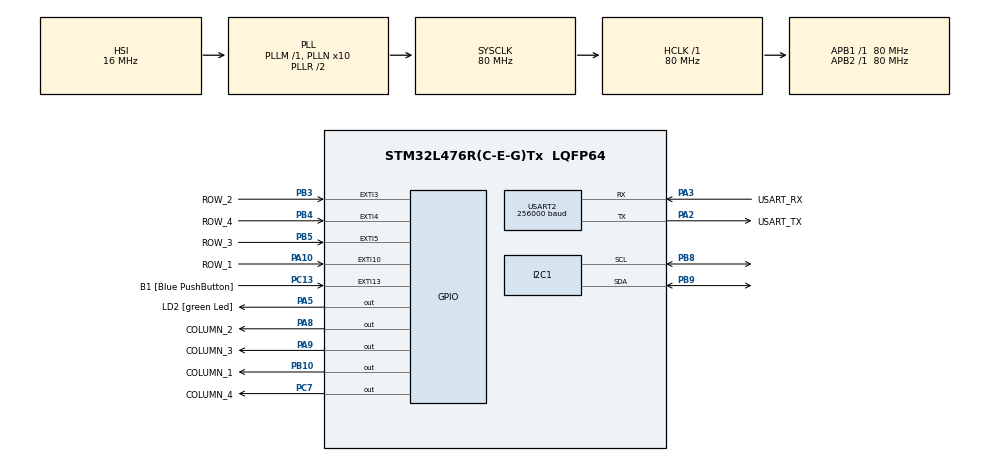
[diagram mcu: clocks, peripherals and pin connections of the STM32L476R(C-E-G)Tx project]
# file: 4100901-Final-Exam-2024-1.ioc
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I2C1.Timing=0x10909CEC
Mcu.Family=STM32L4
Mcu.Name=STM32L476R(C-E-G)Tx
Mcu.Package=LQFP64
NVIC.EXTI15_10_IRQn=true\:0\:0\:false\:false\:true\:true\:true\:true
NVIC.EXTI3_IRQn=true\:0\:0\:false\:false\:true\:true\:true\:true
NVIC.EXTI4_IRQn=true\:0\:0\:false\:false\:true\:true\:true\:true
NVIC.EXTI9_5_IRQn=true\:0\:0\:false\:false\:true\:true\:true\:true
NVIC.I2C1_ER_IRQn=true\:0\:0\:false\:false\:true\:true\:true\:true
NVIC.I2C1_EV_IRQn=true\:0\:0\:false\:false\:true\:true\:true\:true
NVIC.PriorityGroup=NVIC_PRIORITYGROUP_4
NVIC.USART2_IRQn=true\:0\:0\:false\:false\:true\:true\:true\:true
PA10.GPIO_Label=ROW_1
PA10.GPIO_ModeDefaultEXTI=GPIO_MODE_IT_RISING
PA10.GPIO_PuPd=GPIO_PULLDOWN
PA10.Signal=GPXTI10
PA13\ (JTMS-SWDIO).GPIO_Label=TMS
PA13\ (JTMS-SWDIO).Mode=Serial_Wire
PA13\ (JTMS-SWDIO).Signal=SYS_JTMS-SWDIO
PA14\ (JTCK-SWCLK).GPIO_Label=TCK
PA14\ (JTCK-SWCLK).Mode=Serial_Wire
PA14\ (JTCK-SWCLK).Signal=SYS_JTCK-SWCLK
PA2.GPIO_Label=USART_TX
PA2.GPIO_Mode=GPIO_MODE_AF_PP
PA2.GPIO_PuPd=GPIO_NOPULL
PA2.GPIO_Speed=GPIO_SPEED_FREQ_VERY_HIGH
PA2.Mode=Asynchronous
PA2.Signal=USART2_TX
PA3.GPIO_Label=USART_RX
PA3.GPIO_Mode=GPIO_MODE_AF_PP
PA3.GPIO_PuPd=GPIO_NOPULL
PA3.GPIO_Speed=GPIO_SPEED_FREQ_VERY_HIGH
PA3.Mode=Asynchronous
PA3.Signal=USART2_RX
PA5.GPIO_Label=LD2 [green Led]
PA5.GPIO_ModeDefaultOutputPP=GPIO_MODE_OUTPUT_PP
PA5.GPIO_PuPd=GPIO_NOPULL
PA5.GPIO_Speed=GPIO_SPEED_FREQ_LOW
PA5.Signal=GPIO_Output
PA8.GPIO_Label=COLUMN_2
PA8.GPIO_Speed=GPIO_SPEED_FREQ_VERY_HIGH
PA8.PinState=GPIO_PIN_SET
PA8.Signal=GPIO_Output
PA9.GPIO_Label=COLUMN_3
PA9.GPIO_Speed=GPIO_SPEED_FREQ_VERY_HIGH
PA9.PinState=GPIO_PIN_SET
PA9.Signal=GPIO_Output
PB10.GPIO_Label=COLUMN_1
PB10.GPIO_Speed=GPIO_SPEED_FREQ_VERY_HIGH
PB10.PinState=GPIO_PIN_SET
PB10.Signal=GPIO_Output
PB3\ (JTDO-TRACESWO).GPIO_Label=ROW_2
PB3\ (JTDO-TRACESWO).GPIO_ModeDefaultEXTI=GPIO_MODE_IT_RISING
PB3\ (JTDO-TRACESWO).GPIO_PuPd=GPIO_PULLDOWN
PB3\ (JTDO-TRACESWO).Signal=GPXTI3
PB4\ (NJTRST).GPIO_Label=ROW_4
PB4\ (NJTRST).GPIO_ModeDefaultEXTI=GPIO_MODE_IT_RISING
PB4\ (NJTRST).GPIO_PuPd=GPIO_PULLDOWN
PB4\ (NJTRST).Signal=GPXTI4
PB5.GPIO_Label=ROW_3
PB5.GPIO_ModeDefaultEXTI=GPIO_MODE_IT_RISING
PB5.GPIO_PuPd=GPIO_PULLDOWN
PB5.Signal=GPXTI5
PB8.Mode=I2C
PB8.Signal=I2C1_SCL
PB9.Mode=I2C
PB9.Signal=I2C1_SDA
PC13.GPIO_Label=B1 [Blue PushButton]
PC13.GPIO_ModeDefaultEXTI=GPIO_MODE_IT_FALLING
PC13.GPIO_PuPd=GPIO_NOPULL
PC13.Signal=GPXTI13
PC14-OSC32_IN\ (PC14).Signal=RCC_OSC32_IN
PC15-OSC32_OUT\ (PC15).Signal=RCC_OSC32_OUT
PC7.GPIO_Label=COLUMN_4
PC7.GPIO_Speed=GPIO_SPEED_FREQ_VERY_HIGH
PC7.PinState=GPIO_PIN_SET
PC7.Signal=GPIO_Output
PH0-OSC_IN\ (PH0).Mode=HSE-External-Oscillator
PH0-OSC_IN\ (PH0).Signal=RCC_OSC_IN
PH1-OSC_OUT\ (PH1).Mode=HSE-External-Oscillator
PH1-OSC_OUT\ (PH1).Signal=RCC_OSC_OUT
ProjectManager.HeapSize=0x200
ProjectManager.StackSize=0x400
ProjectManager.TargetToolchain=STM32CubeIDE
RCC.ADCFreq_Value=64000000
RCC.AHBFreq_Value=80000000
RCC.APB1Freq_Value=80000000
RCC.APB1TimFreq_Value=80000000
RCC.APB2Freq_Value=80000000
RCC.APB2TimFreq_Value=80000000
RCC.CortexFreq_Value=80000000
RCC.HCLKFreq_Value=80000000
RCC.HSE_VALUE=8000000
RCC.HSI_VALUE=16000000
RCC.MSI_VALUE=4000000
RCC.PLLN=10
RCC.PLLSourceVirtual=RCC_PLLSOURCE_HSI
RCC.PREFETCH_ENABLE=1
RCC.SYSCLKFreq_VALUE=80000000
RCC.SYSCLKSource=RCC_SYSCLKSOURCE_PLLCLK
RCC.USBFreq_Value=64000000
RCC.VCOOutputFreq_Value=160000000
USART2.BaudRate=256000
USART2.VirtualMode-Asynchronous=VM_ASYNC
board=NUCLEO-L476RG

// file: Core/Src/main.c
/* USER CODE BEGIN Header */
/**
  ******************************************************************************
  * @file           : main.c
  * @brief          : Main program body
  ******************************************************************************
  * @attention
  *
  * Copyright (c) 2024 STMicroelectronics.
  * All rights reserved.
  *
  * This software is licensed under terms that can be found in the LICENSE file
  * in the root directory of this software component.
  * If no LICENSE file comes with this software, it is provided AS-IS.
  *
  ******************************************************************************
  */
/* USER CODE END Header */
#include "main.h"

/* USER CODE BEGIN Includes */
#include <stdio.h>

#include "ssd1306.h"
#include "ssd1306_fonts.h"

#include "ring_buffer.h"
#include "keypad.h"
/* USER CODE END Includes */

I2C_HandleTypeDef hi2c1;

UART_HandleTypeDef huart2;

/* USER CODE BEGIN PV */

#define KEYPAD_RB_LEN 4
#define USART2_RB_LEN 6

uint8_t keypad_data = 0xFF;
uint8_t usart2_data = 0xFF;

uint8_t keypad_buffer[KEYPAD_RB_LEN];
ring_buffer_t keypad_rb;

uint8_t usart2_buffer[USART2_RB_LEN];
ring_buffer_t usart2_rb;

uint16_t keypad_input_value = 0;
uint32_t usart_input_value = 0;
uint32_t sum_result = 0;

/* USER CODE END PV */

void SystemClock_Config(void);
static void MX_GPIO_Init(void);
static void MX_USART2_UART_Init(void);
static void MX_I2C1_Init(void);

void process_sum(void);
void reset_values(void);

/* USER CODE BEGIN 0 */

/*
 * Function to redirect printf output to UART.
 *
 * Purpose:
 * This function overrides the standard `_write` function to allow the
 * usage of `printf` in embedded systems without a standard output. It
 * redirects the printf output to UART for debugging or serial communication.
 *
 * Parameters:
 * - file: Not used, required by the function signature.
 * - ptr: Pointer to the data to be transmitted.
 * - len: Length of the data to be transmitted.
 *
 * Functionality:
 * - It sends the data pointed to by `ptr` via UART using HAL_UART_Transmit.
 * - It returns the length of the data transmitted.
 *
 * Use case:
 * By using this function, any call to `printf` will output the message
 * to the UART interface, which can be monitored with a serial console.
 */
int _write(int file, char *ptr, int len)
{
  HAL_UART_Transmit(&huart2, (uint8_t *)ptr, len, 10);
  return len;
}
/*
 * Función para reiniciar los valores ingresados
 *
 * Propósito:
 * Esta función reinicia los valores ingresados tanto por el teclado
 * como por USART, limpiando los valores almacenados en las variables
 * `keypad_input_value` y `usart_input_value`.
 *
 * Funcionalidad:
 * - Restablece a 0 los valores de las entradas del keypad y USART.
 * - Limpia la pantalla OLED y muestra un mensaje indicando que los valores han sido reiniciados.
 * - Envía un mensaje a través de UART informando que los valores han sido reiniciados.
 *
 * Uso:
 * Se utiliza para restablecer el sistema cuando se presiona la tecla '*' en el teclado.
 */
void reset_values(void)
{
    keypad_input_value = 0;
    usart_input_value = 0;

    // Limpiar la pantalla OLED y mostrar un mensaje
    ssd1306_Fill(Black);
    ssd1306_SetCursor(10, 20);
    ssd1306_WriteString("Valores reiniciados", Font_6x8, White);
    ssd1306_UpdateScreen();

    // Mostrar mensaje en la UART
    printf("Valores reiniciados\r\n");
}

/*
 * Función para procesar la suma de los valores ingresados
 *
 * Propósito:
 * Esta función toma los valores ingresados a través del keypad y USART,
 * los suma y muestra el resultado tanto en la pantalla OLED como a través
 * de UART. Además, enciende o apaga un LED dependiendo de si el resultado es par o impar.
 *
 * Funcionalidad:
 * - Suma los valores almacenados en `keypad_input_value` y `usart_input_value`.
 * - Muestra el resultado de la suma en la pantalla OLED y lo envía por UART.
 * - Verifica si el resultado es par o impar:
 *   - Si es par, enciende el LED.
 *   - Si es impar, apaga el LED.
 *
 * Uso:
 * Se activa cuando se presiona el botón B1 en el sistema.
 */
void process_sum(void)
{
    sum_result = keypad_input_value + usart_input_value;

    // Mostrar el resultado en la pantalla OLED y en la UART
    ssd1306_Fill(Black);
    ssd1306_SetCursor(10, 20);
    char result_str[20];
    sprintf(result_str, "Suma: %lu", sum_result);
    ssd1306_WriteString(result_str, Font_6x8, White);

    // Imprimir si es par o impar en el OLED
    ssd1306_SetCursor(10, 40);
    if (sum_result % 2 == 0) {
        ssd1306_WriteString("Resultado: Par", Font_6x8, White);
        HAL_GPIO_WritePin(LD2_GPIO_Port, LD2_Pin, GPIO_PIN_SET);  // Encender LED si es par
    } else {
        ssd1306_WriteString("Resultado: Impar", Font_6x8, White);
        HAL_GPIO_WritePin(LD2_GPIO_Port, LD2_Pin, GPIO_PIN_RESET);  // Apagar LED si es impar
    }

    ssd1306_UpdateScreen();
    printf("Resultado de la suma: %lu\r\n", sum_result);
}

/*
 * Callback de recepción de datos por USART2
 *
 * Propósito:
 * Esta función se ejecuta cada vez que se recibe un dato a través de la UART2.
 * Almacena los dígitos recibidos en un buffer circular y procesa el valor cuando
 * se ha recibido un número completo de hasta 6 dígitos.
 *
 * Funcionalidad:
 * - Almacena los dígitos recibidos (si son numéricos) en el buffer circular.
 * - Cuando se han recibido 6 dígitos, los convierte a un valor numérico.
 * - Imprime el valor recibido en la terminal UART y lo muestra en la pantalla OLED.
 *
 * Uso:
 * Esta función se llama automáticamente cuando se recibe un nuevo dato en la UART
 * y está configurada para trabajar con interrupciones.
 */
/* USART2 Callback ------------------------------------------------------------*/
void HAL_UART_RxCpltCallback(UART_HandleTypeDef *huart)
{
    if (huart->Instance == USART2) {
        // Si recibe un dígito, almacena en el buffer
        if (usart2_data >= '0' && usart2_data <= '9') {
            ring_buffer_write(&usart2_rb, usart2_data);
        }

        // Verifica si el buffer está lleno (6 dígitos)
        if (ring_buffer_size(&usart2_rb) >= 6) {
            char usart_str[7];
            for (int i = 0; i < 6; i++) {
                ring_buffer_read(&usart2_rb, (uint8_t *)&usart_str[i]);
            }
            usart_str[6] = '\0';
            usart_input_value = strtol(usart_str, NULL, 10);
            printf("USART Input: %lu\r\n", usart_input_value);

            // Imprimir valor recibido por USART en OLED
            ssd1306_Fill(Black);
            ssd1306_SetCursor(10, 30);  // Ajustar posición en la pantalla
            char usart_oled_str[20];
            sprintf(usart_oled_str, "USART: %lu", usart_input_value);
            ssd1306_WriteString(usart_oled_str, Font_6x8, White);
            ssd1306_UpdateScreen();
        }

        HAL_UART_Receive_IT(&huart2, &usart2_data, 1);
    }
}

/*
/*
 * Callback de manejo de interrupciones externas (Keypad y Botón B1)
 *
 * Propósito:
 * Esta función se ejecuta cuando se detecta una interrupción en los pines configurados
 * para el keypad o el botón B1. Procesa los dígitos ingresados por el keypad y realiza
 * la suma de valores cuando se presiona el botón B1.
 *
 * Funcionalidad:
 * - Si el botón B1 es presionado, se realiza la suma de los valores ingresados.
 * - Si se presiona el '*' en el keypad, se reinician los valores ingresados.
 * - Si se ingresan 4 dígitos en el keypad, estos se convierten en un valor numérico y
 *   se muestran tanto en la pantalla OLED como en la terminal UART.
 *
 * Uso:
 * Esta función se llama automáticamente cuando se detecta una interrupción en el pin
 * asociado al keypad o al botón B1.
 */
/* Keypad and button Callback ------------------------------------------------------------*/
void HAL_GPIO_EXTI_Callback(uint16_t GPIO_Pin)
{
    if (GPIO_Pin == B1_Pin) {
        // Procesar suma cuando se presiona el botón B1
        process_sum();
        return;
    }

    // Manejo del keypad
    uint8_t key_pressed = keypad_scan(GPIO_Pin);
    if (key_pressed != 0xFF) {
        if (key_pressed == '*') {
            // Reiniciar valores si se presiona '*'
            reset_values();
        } else {
            ring_buffer_write(&keypad_rb, key_pressed);

            // Verifica si el buffer del keypad está lleno (4 dígitos)
            if (ring_buffer_size(&keypad_rb) >= 4) {
                char keypad_str[5];
                for (int i = 0; i < 4; i++) {
                    ring_buffer_read(&keypad_rb, (uint8_t *)&keypad_str[i]);
                }
                keypad_str[4] = '\0';
                keypad_input_value = strtol(keypad_str, NULL, 16);
                printf("Keypad Input: %u\r\n", keypad_input_value);

                // Imprimir valor ingresado por keypad en OLED
                ssd1306_Fill(Black);
                ssd1306_SetCursor(10, 40);  // Ajustar posición en la pantalla
                char keypad_oled_str[20];
                sprintf(keypad_oled_str, "Keypad: %u", keypad_input_value);
                ssd1306_WriteString(keypad_oled_str, Font_6x8, White);
                ssd1306_UpdateScreen();
            }
        }
    }
}

/* USER CODE END 0 */

int main(void)
{

  /* USER CODE BEGIN 1 */
	huart2.Init.BaudRate = 256000;  // Cambia la velocidad a 256000 baudios
  /* USER CODE END 1 */

  /* MCU Configuration--------------------------------------------------------*/

  /* Reset of all peripherals, Initializes the Flash interface and the Systick. */
  HAL_Init();

  /* Configure the system clock */
  SystemClock_Config();

  /* Initialize all configured peripherals */
  MX_GPIO_Init();
  MX_USART2_UART_Init();
  MX_I2C1_Init();
  /* USER CODE BEGIN 2 */

  // initialize the two circular buffers
  ring_buffer_init(&keypad_rb, keypad_buffer, KEYPAD_RB_LEN);
  ring_buffer_init(&usart2_rb, usart2_buffer, USART2_RB_LEN);
  // intializing oled screen
  ssd1306_Init();
  ssd1306_Fill(Black);
  ssd1306_SetCursor(20, 20);
  ssd1306_WriteString("starting arithmetic software", Font_7x10, White);
  ssd1306_UpdateScreen();

  HAL_UART_Receive_IT(&huart2, &usart2_data, 1);
  /* USER CODE END 2 */

  /* Infinite loop */
  /* USER CODE BEGIN WHILE */
  printf("Starting arithmetic software \r\n");
  while (1)
  {
    /* USER CODE E ND WHILE */

  }
}

void SystemClock_Config(void)
{
  RCC_OscInitTypeDef RCC_OscInitStruct = {0};
  RCC_ClkInitTypeDef RCC_ClkInitStruct = {0};

  /** Configure the main internal regulator output voltage
  */
  if (HAL_PWREx_ControlVoltageScaling(PWR_REGULATOR_VOLTAGE_SCALE1) != HAL_OK)
  {
    Error_Handler();
  }

  /** Initializes the RCC Oscillators according to the specified parameters
  * in the RCC_OscInitTypeDef structure.
  */
  RCC_OscInitStruct.OscillatorType = RCC_OSCILLATORTYPE_HSI;
  RCC_OscInitStruct.HSIState = RCC_HSI_ON;
  RCC_OscInitStruct.HSICalibrationValue = RCC_HSICALIBRATION_DEFAULT;
  RCC_OscInitStruct.PLL.PLLState = RCC_PLL_ON;
  RCC_OscInitStruct.PLL.PLLSource = RCC_PLLSOURCE_HSI;
  RCC_OscInitStruct.PLL.PLLM = 1;
  RCC_OscInitStruct.PLL.PLLN = 10;
  RCC_OscInitStruct.PLL.PLLP = RCC_PLLP_DIV7;
  RCC_OscInitStruct.PLL.PLLQ = RCC_PLLQ_DIV2;
  RCC_OscInitStruct.PLL.PLLR = RCC_PLLR_DIV2;
  if (HAL_RCC_OscConfig(&RCC_OscInitStruct) != HAL_OK)
  {
    Error_Handler();
  }

  /** Initializes the CPU, AHB and APB buses clocks
  */
  RCC_ClkInitStruct.ClockType = RCC_CLOCKTYPE_HCLK|RCC_CLOCKTYPE_SYSCLK
                              |RCC_CLOCKTYPE_PCLK1|RCC_CLOCKTYPE_PCLK2;
  RCC_ClkInitStruct.SYSCLKSource = RCC_SYSCLKSOURCE_PLLCLK;
  RCC_ClkInitStruct.AHBCLKDivider = RCC_SYSCLK_DIV1;
  RCC_ClkInitStruct.APB1CLKDivider = RCC_HCLK_DIV1;
  RCC_ClkInitStruct.APB2CLKDivider = RCC_HCLK_DIV1;

  if (HAL_RCC_ClockConfig(&RCC_ClkInitStruct, FLASH_LATENCY_4) != HAL_OK)
  {
    Error_Handler();
  }
}

static void MX_I2C1_Init(void)
{

  hi2c1.Instance = I2C1;
  hi2c1.Init.Timing = 0x10909CEC;
  hi2c1.Init.OwnAddress1 = 0;
  hi2c1.Init.AddressingMode = I2C_ADDRESSINGMODE_7BIT;
  hi2c1.Init.DualAddressMode = I2C_DUALADDRESS_DISABLE;
  hi2c1.Init.OwnAddress2 = 0;
  hi2c1.Init.OwnAddress2Masks = I2C_OA2_NOMASK;
  hi2c1.Init.GeneralCallMode = I2C_GENERALCALL_DISABLE;
  hi2c1.Init.NoStretchMode = I2C_NOSTRETCH_DISABLE;
  if (HAL_I2C_Init(&hi2c1) != HAL_OK)
  {
    Error_Handler();
  }

  /** Configure Analogue filter
  */
  if (HAL_I2CEx_ConfigAnalogFilter(&hi2c1, I2C_ANALOGFILTER_ENABLE) != HAL_OK)
  {
    Error_Handler();
  }

  /** Configure Digital filter
  */
  if (HAL_I2CEx_ConfigDigitalFilter(&hi2c1, 0) != HAL_OK)
  {
    Error_Handler();
  }
  /* USER CODE BEGIN I2C1_Init 2 */
  /*
   * Function to clear a specific line on the OLED screen.
   *
   * Purpose:
   * This function is used to "delete" the contents of a specific line
   * by writing spaces over it. This is useful when you want to update
   * or remove text from a specific position on the OLED display.
   *
   * Parameters:
   * - y_position: The vertical position (Y coordinate) of the line to clear.
   *
   * Functionality:
   * - The function places the cursor at the start of the line.
   * - It writes a string of spaces to overwrite any existing content on that line.
   * - Finally, it updates the screen to reflect the changes.
   */
  void clear_line(uint8_t y_position) {
      // Place the cursor at the beginning of the line
      ssd1306_SetCursor(10, y_position);
      // Write a line of spaces to "delete" the line
      ssd1306_WriteString("                ", Font_6x8, Black);  // Adjust the number of spaces according to the screen size
      ssd1306_UpdateScreen();
  }
  /* USER CODE END I2C1_Init 2 */

}

static void MX_USART2_UART_Init(void)
{

  huart2.Instance = USART2;
  huart2.Init.BaudRate = 256000;
  huart2.Init.WordLength = UART_WORDLENGTH_8B;
  huart2.Init.StopBits = UART_STOPBITS_1;
  huart2.Init.Parity = UART_PARITY_NONE;
  huart2.Init.Mode = UART_MODE_TX_RX;
  huart2.Init.HwFlowCtl = UART_HWCONTROL_NONE;
  huart2.Init.OverSampling = UART_OVERSAMPLING_16;
  huart2.Init.OneBitSampling = UART_ONE_BIT_SAMPLE_DISABLE;
  huart2.AdvancedInit.AdvFeatureInit = UART_ADVFEATURE_NO_INIT;
  if (HAL_UART_Init(&huart2) != HAL_OK)
  {
    Error_Handler();
  }

}

static void MX_GPIO_Init(void)
{
  GPIO_InitTypeDef GPIO_InitStruct = {0};

  /* GPIO Ports Clock Enable */
  __HAL_RCC_GPIOC_CLK_ENABLE();
  __HAL_RCC_GPIOH_CLK_ENABLE();
  __HAL_RCC_GPIOA_CLK_ENABLE();
  __HAL_RCC_GPIOB_CLK_ENABLE();

  /*Configure GPIO pin Output Level */
  HAL_GPIO_WritePin(LD2_GPIO_Port, LD2_Pin, GPIO_PIN_RESET);

  /*Configure GPIO pin Output Level */
  HAL_GPIO_WritePin(COLUMN_1_GPIO_Port, COLUMN_1_Pin, GPIO_PIN_SET);

  /*Configure GPIO pin Output Level */
  HAL_GPIO_WritePin(COLUMN_4_GPIO_Port, COLUMN_4_Pin, GPIO_PIN_SET);

  /*Configure GPIO pin Output Level */
  HAL_GPIO_WritePin(GPIOA, COLUMN_2_Pin|COLUMN_3_Pin, GPIO_PIN_SET);

  /*Configure GPIO pin : B1_Pin */
  GPIO_InitStruct.Pin = B1_Pin;
  GPIO_InitStruct.Mode = GPIO_MODE_IT_FALLING;
  GPIO_InitStruct.Pull = GPIO_NOPULL;
  HAL_GPIO_Init(B1_GPIO_Port, &GPIO_InitStruct);

  /*Configure GPIO pin : LD2_Pin */
  GPIO_InitStruct.Pin = LD2_Pin;
  GPIO_InitStruct.Mode = GPIO_MODE_OUTPUT_PP;
  GPIO_InitStruct.Pull = GPIO_NOPULL;
  GPIO_InitStruct.Speed = GPIO_SPEED_FREQ_LOW;
  HAL_GPIO_Init(LD2_GPIO_Port, &GPIO_InitStruct);

  /*Configure GPIO pin : COLUMN_1_Pin */
  GPIO_InitStruct.Pin = COLUMN_1_Pin;
  GPIO_InitStruct.Mode = GPIO_MODE_OUTPUT_PP;
  GPIO_InitStruct.Pull = GPIO_NOPULL;
  GPIO_InitStruct.Speed = GPIO_SPEED_FREQ_VERY_HIGH;
  HAL_GPIO_Init(COLUMN_1_GPIO_Port, &GPIO_InitStruct);

  /*Configure GPIO pin : COLUMN_4_Pin */
  GPIO_InitStruct.Pin = COLUMN_4_Pin;
  GPIO_InitStruct.Mode = GPIO_MODE_OUTPUT_PP;
  GPIO_InitStruct.Pull = GPIO_NOPULL;
  GPIO_InitStruct.Speed = GPIO_SPEED_FREQ_VERY_HIGH;
  HAL_GPIO_Init(COLUMN_4_GPIO_Port, &GPIO_InitStruct);

  /*Configure GPIO pins : COLUMN_2_Pin COLUMN_3_Pin */
  GPIO_InitStruct.Pin = COLUMN_2_Pin|COLUMN_3_Pin;
  GPIO_InitStruct.Mode = GPIO_MODE_OUTPUT_PP;
  GPIO_InitStruct.Pull = GPIO_NOPULL;
  GPIO_InitStruct.Speed = GPIO_SPEED_FREQ_VERY_HIGH;
  HAL_GPIO_Init(GPIOA, &GPIO_InitStruct);

<<<<<<< HEAD
  /*Configure GPIO pin : COL_4_Pin */
  GPIO_InitStruct.Pin = COLUMN_4_Pin;
  GPIO_InitStruct.Mode = GPIO_MODE_IT_RISING;
  GPIO_InitStruct.Pull = GPIO_PULLDOWN;
  HAL_GPIO_Init(COLUMN_4_GPIO_Port, &GPIO_InitStruct);

  /*Configure GPIO pins : COL_3_Pin COL_1_Pin COL_2_Pin */
  GPIO_InitStruct.Pin = COLUMN_3_Pin|COLUMN_1_Pin|COLUMN_2_Pin;
=======
  /*Configure GPIO pin : ROW_1_Pin */
  GPIO_InitStruct.Pin = ROW_1_Pin;
  GPIO_InitStruct.Mode = GPIO_MODE_IT_RISING;
  GPIO_InitStruct.Pull = GPIO_PULLDOWN;
  HAL_GPIO_Init(ROW_1_GPIO_Port, &GPIO_InitStruct);

  /*Configure GPIO pins : ROW_2_Pin ROW_4_Pin ROW_3_Pin */
  GPIO_InitStruct.Pin = ROW_2_Pin|ROW_4_Pin|ROW_3_Pin;
>>>>>>> 51b733442751eac3f5f109ff4e4bc54a8eeb193f
  GPIO_InitStruct.Mode = GPIO_MODE_IT_RISING;
  GPIO_InitStruct.Pull = GPIO_PULLDOWN;
  HAL_GPIO_Init(GPIOB, &GPIO_InitStruct);

  /* EXTI interrupt init*/
  HAL_NVIC_SetPriority(EXTI3_IRQn, 0, 0);
  HAL_NVIC_EnableIRQ(EXTI3_IRQn);

  HAL_NVIC_SetPriority(EXTI4_IRQn, 0, 0);
  HAL_NVIC_EnableIRQ(EXTI4_IRQn);

  HAL_NVIC_SetPriority(EXTI9_5_IRQn, 0, 0);
  HAL_NVIC_EnableIRQ(EXTI9_5_IRQn);

  HAL_NVIC_SetPriority(EXTI15_10_IRQn, 0, 0);
  HAL_NVIC_EnableIRQ(EXTI15_10_IRQn);

}

void Error_Handler(void)
{
  __disable_irq();
  while (1)
  {
  }
}
